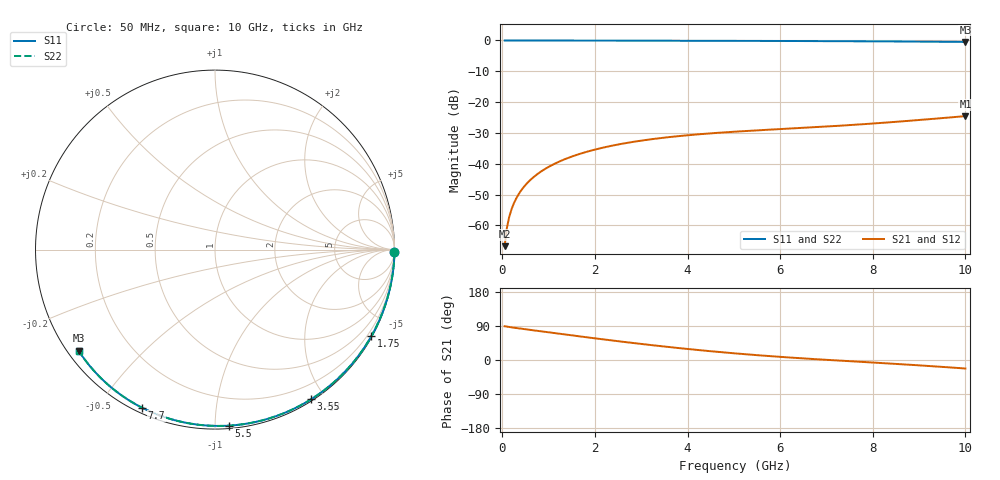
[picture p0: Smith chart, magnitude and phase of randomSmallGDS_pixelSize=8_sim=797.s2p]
! freq	dB(S11)	phase(S11)	dB(S12)	phase(S12)
!  dB(S21)	phase(S21)	dB(S22)	phase(S22)
!S-par simulation data
#  GHz  S  DB  R 50
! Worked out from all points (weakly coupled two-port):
!   200 points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, 50 MHz to 10 GHz, reference 50 ohm
!   highest |S21| = -24.56 dB at 10 GHz (marker M1); lowest = -66.8 dB at 50 MHz (marker M2)
!   lowest |S11| = -0.5 dB at 10 GHz (marker M3), VSWR 35.98, Z = 1.54 - j16.5 ohm
!   |S11| at or under -10 dB: nowhere
!   |S22| runs from -0.5 to 0.0 dB; largest |S21 - S12| = 0
!   S11 on the Smith chart (normalised r, x): 50 MHz: open; 1.75 GHz: 0.03, -3.86; 3.55 GHz: 0.02, -1.83; 5.5 GHz: 0.02, -1.08; 7.7 GHz: 0.02, -0.64; 10 GHz: 0.03, -0.33
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0.05  -0.00 -0.8  -66.77 89.0  -66.77 89.0  -0.00 -0.8
0.1  -0.00 -1.7  -60.76 88.0  -60.76 88.0  -0.00 -1.7
0.15  -0.00 -2.5  -57.25 87.1  -57.25 87.1  -0.00 -2.5
0.2  -0.00 -3.4  -54.77 86.2  -54.77 86.2  -0.00 -3.4
0.25  -0.00 -4.2  -52.86 85.3  -52.86 85.3  -0.00 -4.2
0.35  -0.00 -5.9  -49.97 83.6  -49.97 83.6  -0.00 -5.9
0.5  -0.01 -8.4  -46.92 81.1  -46.92 81.1  -0.01 -8.4
0.7  -0.01 -11.8  -44.05 77.9  -44.05 77.9  -0.01 -11.8
1  -0.02 -16.7  -41.03 73.0  -41.03 73.0  -0.02 -16.7
1.35  -0.03 -22.5  -38.54 67.4  -38.54 67.4  -0.03 -22.5
1.75  -0.04 -29.0  -36.46 61.1  -36.46 61.1  -0.04 -29.0
2.5  -0.05 -41.0  -33.77 49.6  -33.77 49.6  -0.05 -41.1
3.4  -0.08 -55.0  -31.72 36.8  -31.72 36.8  -0.08 -55.1
3.55  -0.08 -57.3  -31.45 34.8  -31.45 34.8  -0.08 -57.3
4.3  -0.10 -68.5  -30.38 25.5  -30.38 25.5  -0.10 -68.5
5.05  -0.12 -79.3  -29.58 17.2  -29.58 17.2  -0.12 -79.3
5.5  -0.14 -85.6  -29.18 12.8  -29.18 12.8  -0.14 -85.6
6.7  -0.20 -101.8  -28.19 2.7  -28.19 2.7  -0.20 -101.8
7.7  -0.26 -114.7  -27.28 -4.5  -27.28 -4.5  -0.26 -114.7
8.35  -0.31 -122.9  -26.58 -9.2  -26.58 -9.2  -0.31 -122.9
9.2  -0.39 -133.5  -25.57 -15.7  -25.57 -15.7  -0.39 -133.5
10  -0.48 -143.5  -24.56 -22.4  -24.56 -22.4  -0.48 -143.5
